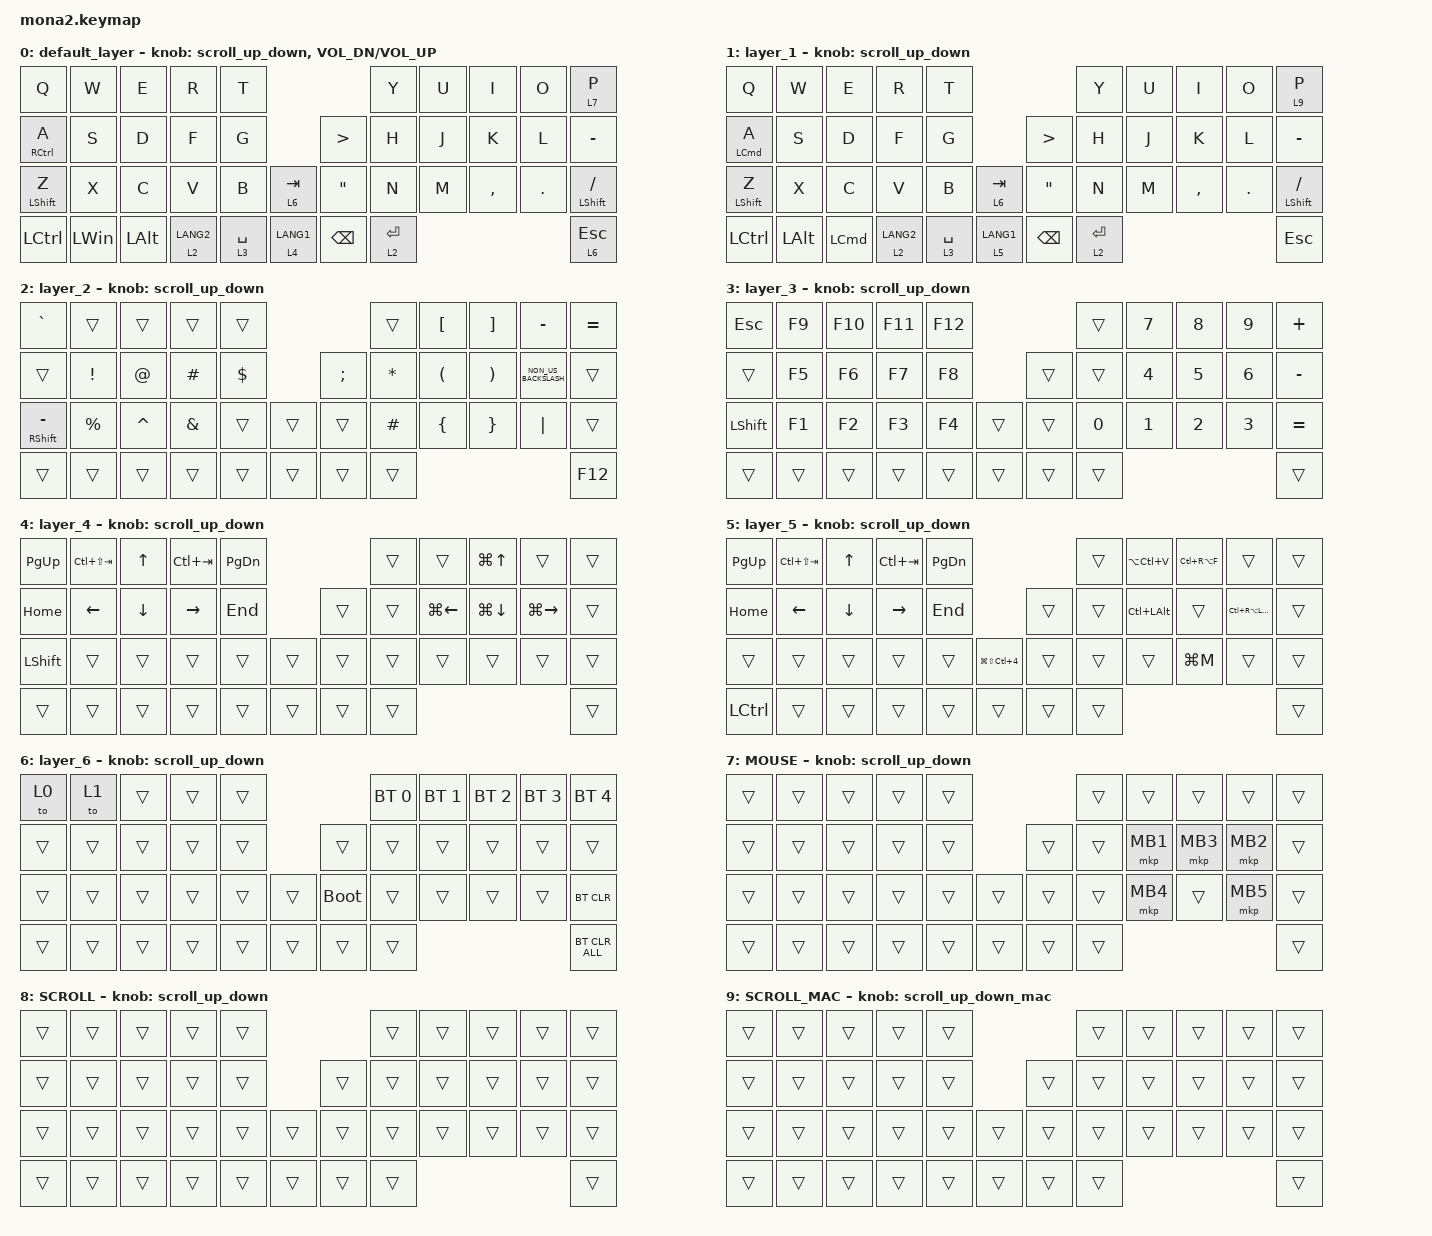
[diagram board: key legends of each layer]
#include <input/processors.dtsi>
#include <dt-bindings/zmk/input_transform.h>
#include <zephyr/dt-bindings/input/input-event-codes.h>
#include <behaviors.dtsi>
#include <dt-bindings/zmk/bt.h>
#include <dt-bindings/zmk/keys.h>
#include <dt-bindings/zmk/pointing.h>

#define ZMK_POINTING_DEFAULT_SCRL_VAL 100
#define MOUSE 6
#define SCROLL 7

&mt {
    flavor = "balanced";
    quick-tap-ms = <0>;
};

&lt {
    quick-tap-ms = <300>;
    flavor = "balanced";
};

/ {
    combos {
        compatible = "zmk,combos";

        layer4_ESC {
            bindings = <&lt 4 ESC>;
            key-positions = <39 38>;
        };

        tab {
            bindings = <&kp TAB>;
            key-positions = <11 12>;
        };
    };

    macros {
        to_layer_0: to_layer_0 {
            compatible = "zmk,behavior-macro-one-param";
            #binding-cells = <1>;
            bindings = <&to 0 &macro_param_1to1 &kp MACRO_PLACEHOLDER>;
            label = "TO_LAYER_0";
        };
    };

    behaviors {
        lt_to_layer_0: lt_to_layer_0 {
            compatible = "zmk,behavior-hold-tap";
            label = "LAYER_TAP_TO_0";
            bindings = <&mo>, <&to_layer_0>;

            #binding-cells = <2>;
            tapping-term-ms = <200>;
        };

        scroll_up_down: mouse_wheel_up_down {
            compatible = "zmk,behavior-sensor-rotate";
            #sensor-binding-cells = <0>;
            bindings = <&msc SCRL_DOWN>, <&msc SCRL_UP>;

            tap-ms = <20>;
        };

        scroll_right_left: mouse_wheel_right_left {
            compatible = "zmk,behavior-sensor-rotate";
            #sensor-binding-cells = <0>;
            bindings = <&msc SCRL_LEFT>, <&msc SCRL_RIGHT>;

            tap-ms = <20>;
        };

        scroll_up_down_mac: mouse_wheel_up_down_mac {
            compatible = "zmk,behavior-sensor-rotate";
            #sensor-binding-cells = <0>;
            bindings = <&msc SCRL_UP>, <&msc SCRL_DOWN>;

            tap-ms = <20>;
        };

        scroll_right_left_mac: mouse_wheel_right_left_mac {
            compatible = "zmk,behavior-sensor-rotate";
            #sensor-binding-cells = <0>;
            bindings = <&msc SCRL_RIGHT>, <&msc SCRL_LEFT>;

            tap-ms = <20>;
        };
    };

    keymap {
        compatible = "zmk,keymap";

        default_layer {
            bindings = <
&kp Q             &kp W         &kp E         &kp R        &kp T                                          &kp Y        &kp U  &kp I      &kp O    &lt 7 P
&mt RCTRL A       &kp S         &kp D         &kp F        &kp G                       &kp GREATER_THAN   &kp H        &kp J  &kp K      &kp L    &kp MINUS
&mt LEFT_SHIFT Z  &kp X         &kp C         &kp V        &kp B        &lt 6 TAB      &kp DOUBLE_QUOTES  &kp N        &kp M  &kp COMMA  &kp DOT  &mt LSHIFT SLASH
&kp LCTRL         &kp LEFT_WIN  &kp LEFT_ALT  &lt 2 LANG2  &lt 3 SPACE  &lt 4 LANG1    &kp BACKSPACE      &lt 2 ENTER                             &lt 6 ESC
            >;

            sensor-bindings =
                <&scroll_up_down>,
                <&inc_dec_kp C_VOL_DN C_VOL_UP>;
        };

        layer_1 {
            bindings = <
&kp Q               &kp W         &kp E             &kp R        &kp T                                          &kp Y        &kp U  &kp I      &kp O    &lt 9 P
&mt LEFT_COMMAND A  &kp S         &kp D             &kp F        &kp G                       &kp GREATER_THAN   &kp H        &kp J  &kp K      &kp L    &kp MINUS
&mt LEFT_SHIFT Z    &kp X         &kp C             &kp V        &kp B        &lt 6 TAB      &kp DOUBLE_QUOTES  &kp N        &kp M  &kp COMMA  &kp DOT  &mt LSHIFT SLASH
&kp LCTRL           &kp LEFT_ALT  &kp LEFT_COMMAND  &lt 2 LANG2  &lt 3 SPACE  &lt 5 LANG1    &kp BACKSPACE      &lt 2 ENTER                             &kp ESCAPE
            >;

            sensor-bindings = <&scroll_up_down>;
        };

        layer_2 {
            bindings = <
&kp GRAVE        &trans           &trans       &trans         &trans                               &trans        &kp LEFT_BRACKET      &kp RIGHT_BRACKET      &kp MINUS             &kp EQUAL
&trans           &kp EXCLAMATION  &kp AT_SIGN  &kp HASH       &kp DOLLAR            &kp SEMICOLON  &kp ASTERISK  &kp LEFT_PARENTHESIS  &kp RIGHT_PARENTHESIS  &kp NON_US_BACKSLASH  &trans
&mt RSHFT MINUS  &kp PERCENT      &kp CARET    &kp AMPERSAND  &trans      &trans    &trans         &kp HASH      &kp LEFT_BRACE        &kp RIGHT_BRACE        &kp PIPE              &trans
&trans           &trans           &trans       &trans         &trans      &trans    &trans         &trans                                                                           &kp F12
            >;

            sensor-bindings = <&scroll_up_down>;
        };

        layer_3 {
            bindings = <
&kp ESC         &kp F9  &kp F10  &kp F11  &kp F12                    &trans  &kp N7        &kp N8        &kp N9        &kp PLUS
&trans          &kp F5  &kp F6   &kp F7   &kp F8             &trans  &trans  &kp NUMBER_4  &kp N5        &kp NUMBER_6  &kp MINUS
&kp LEFT_SHIFT  &kp F1  &kp F2   &kp F3   &kp F4   &trans    &trans  &kp N0  &kp NUMBER_1  &kp NUMBER_2  &kp NUMBER_3  &kp EQUAL
&trans          &trans  &trans   &trans   &trans   &trans    &trans  &trans                                            &trans
            >;

            sensor-bindings = <&scroll_up_down>;
        };

        layer_4 {
            bindings = <
&kp PG_UP       &kp LC(LS(TAB))  &kp UP_ARROW    &kp LC(TAB)      &kp PAGE_DOWN                    &trans  &trans              &kp LG(UP_ARROW)    &trans               &trans
&kp HOME        &kp LEFT_ARROW   &kp DOWN_ARROW  &kp RIGHT_ARROW  &kp END                  &trans  &trans  &kp LG(LEFT_ARROW)  &kp LG(DOWN_ARROW)  &kp LG(RIGHT_ARROW)  &trans
&kp LEFT_SHIFT  &trans           &trans          &trans           &trans         &trans    &trans  &trans  &trans              &trans              &trans               &trans
&trans          &trans           &trans          &trans           &trans         &trans    &trans  &trans                                                               &trans
            >;

            sensor-bindings = <&scroll_up_down>;
        };

        layer_5 {
            bindings = <
&kp PAGE_UP       &kp LC(LS(TAB))  &kp UP_ARROW    &kp LC(TAB)      &kp PAGE_DOWN                                      &trans  &kp LA(LC(V))     &kp LC(RA(F))  &trans                &trans
&kp HOME          &kp LEFT_ARROW   &kp DOWN_ARROW  &kp RIGHT_ARROW  &kp END                                    &trans  &trans  &kp LC(LEFT_ALT)  &trans         &kp LC(RA(LEFT_WIN))  &trans
&trans            &trans           &trans          &trans           &trans         &kp LG(LS(LC(NUMBER_4)))    &trans  &trans  &trans            &kp LG(M)      &trans                &trans
&kp LEFT_CONTROL  &trans           &trans          &trans           &trans         &trans                      &trans  &trans                                                         &trans
            >;

            sensor-bindings = <&scroll_up_down>;
        };

        layer_6 {
            bindings = <
&to 0   &to 1   &trans  &trans  &trans                         &bt BT_SEL 0  &bt BT_SEL 1  &bt BT_SEL 2  &bt BT_SEL 3  &bt BT_SEL 4
&trans  &trans  &trans  &trans  &trans            &trans       &trans        &trans        &trans        &trans        &trans
&trans  &trans  &trans  &trans  &trans  &trans    &bootloader  &trans        &trans        &trans        &trans        &bt BT_CLR
&trans  &trans  &trans  &trans  &trans  &trans    &trans       &trans                                                  &bt BT_CLR_ALL
            >;

            sensor-bindings = <&scroll_up_down>;
        };

        MOUSE {
            bindings = <
&trans  &trans  &trans  &trans  &trans                    &trans  &trans    &trans    &trans    &trans
&trans  &trans  &trans  &trans  &trans            &trans  &trans  &mkp MB1  &mkp MB3  &mkp MB2  &trans
&trans  &trans  &trans  &trans  &trans  &trans    &trans  &trans  &mkp MB4  &trans    &mkp MB5  &trans
&trans  &trans  &trans  &trans  &trans  &trans    &trans  &trans                                &trans
            >;

            sensor-bindings = <&scroll_up_down>;
        };

        SCROLL {
            bindings = <
&trans  &trans  &trans  &trans  &trans                    &trans  &trans  &trans  &trans  &trans
&trans  &trans  &trans  &trans  &trans            &trans  &trans  &trans  &trans  &trans  &trans
&trans  &trans  &trans  &trans  &trans  &trans    &trans  &trans  &trans  &trans  &trans  &trans
&trans  &trans  &trans  &trans  &trans  &trans    &trans  &trans                          &trans
            >;

            sensor-bindings = <&scroll_up_down>;
        };

        SCROLL_MAC {
            bindings = <
&trans  &trans  &trans  &trans  &trans                    &trans  &trans  &trans  &trans  &trans
&trans  &trans  &trans  &trans  &trans            &trans  &trans  &trans  &trans  &trans  &trans
&trans  &trans  &trans  &trans  &trans  &trans    &trans  &trans  &trans  &trans  &trans  &trans
&trans  &trans  &trans  &trans  &trans  &trans    &trans  &trans                          &trans
            >;

            sensor-bindings = <&scroll_up_down_mac>;
        };
    };
};
